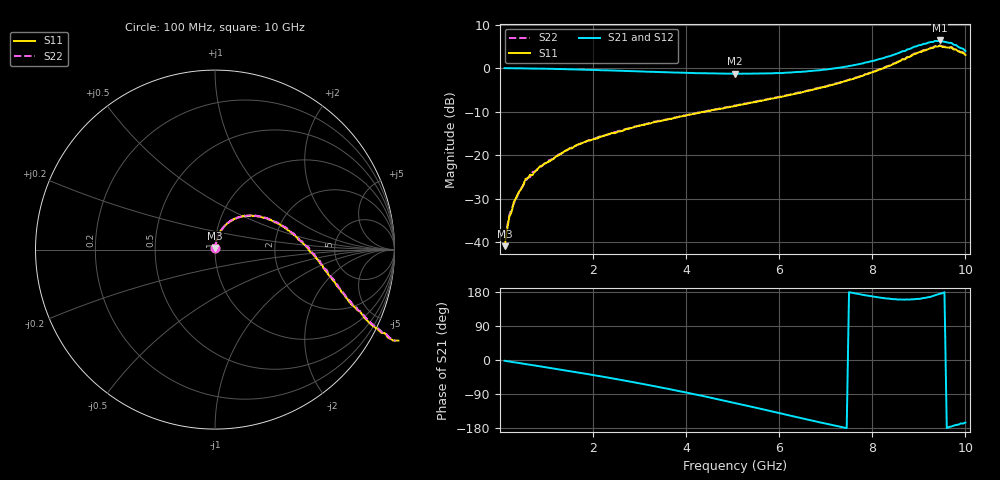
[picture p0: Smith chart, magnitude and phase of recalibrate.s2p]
!Keysight Technologies,P9373A,MY57211790,A.19.30.04
!Date: Friday, April 24, 2026 16:42:06
!Correction: S11(C  2-Port  )
!S21(C  2-Port  )
!S12(C  2-Port  )
!S22(C  2-Port  )
!S2P File: Measurements: S11, S21, S12, S22:
# Hz S  dB  R 50
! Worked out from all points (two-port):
!   199 points, 100 MHz to 10 GHz, reference 50 ohm
!   highest |S21| = 6.35 dB at 9.45 GHz (marker M1); lowest = -1.3 dB at 5.05 GHz (marker M2)
!   |S21| within 3 dB of the highest: 8.537 GHz to end of sweep
!   lowest |S11| = -40.9 dB at 100 MHz (marker M3), VSWR 1.02, Z = 50.1 + j0.897 ohm
!   |S11| at or under -10 dB: start of sweep to 4.411 GHz
!   |S22| runs from -39.0 to 5.2 dB; largest |S21 - S12| = 0.018
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1e8  -40.86 80.8  -0.00 -2.0  -0.01 -1.9  -38.96 80.8
2e8  -34.17 81.7  -0.02 -4.0  -0.03 -4.0  -33.87 80.3
3e8  -30.69 81.2  -0.04 -6.0  -0.03 -6.0  -31.04 83.0
5.5e8  -25.43 79.8  -0.07 -10.7  -0.06 -10.7  -25.93 78.9
1.05e9  -21.46 74.6  -0.15 -20.5  -0.16 -20.6  -21.17 76.1
1.75e9  -17.29 68.3  -0.35 -34.5  -0.33 -34.7  -17.24 68.8
3.4e9  -12.23 49.6  -0.89 -71.0  -0.88 -71.1  -12.12 49.1
4.4e9  -10.03 35.1  -1.16 -96.0  -1.17 -96.3  -9.95 34.8
5.05e9  -8.71 24.1  -1.30 -113.7  -1.27 -113.8  -8.57 24.3
5.8e9  -7.07 11.5  -1.17 -134.4  -1.15 -134.8  -6.98 11.5
6.7e9  -4.99 -4.5  -0.63 -159.7  -0.64 -159.9  -4.94 -4.2
7.8e9  -1.73 -21.9  1.10 171.8  1.10 171.6  -1.63 -21.9
8.35e9  0.47 -26.2  2.69 162.1  2.69 161.8  0.55 -26.3
8.7e9  2.04 -25.7  3.91 159.4  3.93 159.0  2.11 -25.7
9e9  3.67 -20.9  5.27 161.2  5.27 160.8  3.77 -21.0
9.25e9  4.58 -13.5  5.99 166.5  6.00 166.3  4.68 -13.1
9.45e9  5.13 -3.1  6.35 174.8  6.38 174.4  5.22 -3.1
9.7e9  4.73 8.9  5.81 -175.6  5.84 -175.8  4.85 8.8
9.75e9  4.29 11.8  5.38 -173.2  5.35 -173.7  4.38 11.8
9.9e9  3.64 19.0  4.61 -167.5  4.59 -167.9  3.74 18.9
9.95e9  3.52 18.8  4.46 -167.6  4.46 -168.1  3.61 19.0
1e10  3.01 22.1  3.92 -165.1  3.91 -165.5  3.12 22.3
